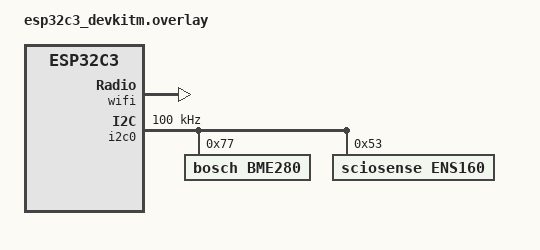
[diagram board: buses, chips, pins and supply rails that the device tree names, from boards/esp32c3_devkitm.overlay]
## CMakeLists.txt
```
cmake_minimum_required(VERSION 3.20.0)
find_package(Zephyr REQUIRED HINTS $ENV{ZEPHYR_BASE})
project(espcode)

# Collect all the source files in app/prac2/src
FILE(GLOB app_sources src/*.c)

# Collect all the source files in lib. Note that
# the path given needs to be relative to the
# CMakeLists root, which is app/prac2 here,
# hence the ../../lib.c.
FILE(GLOB lib_sources ../../lib/*.c)

# Tell CMake to build with the app and lib sources
target_sources(app PRIVATE ${app_sources} ${lib_sources}) 
target_sources(app PRIVATE
    src/main.c
    /home/brain/repo/mycode/apps/mylib/ens160.c
)
zephyr_include_directories(${CMAKE_CURRENT_SOURCE_DIR}/include)
# Tell CMake where our header files are
target_include_directories(app PRIVATE ../../include)
```

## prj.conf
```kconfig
# Enable networking stack
CONFIG_NETWORKING=y
CONFIG_PRINTK=y
CONFIG_SERIAL=y
CONFIG_UART_CONSOLE=y
CONFIG_SHELL=y
CONFIG_SHELL_LOG_LEVEL_INF=y
CONFIG_SHELL_CMD_BUFF_SIZE=128
# Enable IPv4 and DHCP
# CONFIG_NET_IPV4=y
# CONFIG_NET_DHCPV4=y
# CONFIG_NET_UDP=y
# CONFIG_NET_TCP=y
# CONFIG_HTTP_CLIENT=y  
# #CONFIG_NET_SOCKETS_POSIX_NAMES=y
# CONFIG_NET_TCP=y
# CONFIG_HTTP_CLIENT=y
# CONFIG_HTTP_PARSER=y
# CONFIG_NET_IPV4=y

# # Enable sockets and POSIX-style names
# CONFIG_NET_SOCKETS=y
# CONFIG_SHELL_STACK_SIZE=2048

  
# CONFIG_HEAP_MEM_POOL_SIZE=32768
# # Enable logging and heap (recommended)
# CONFIG_LOG=y 

# CONFIG_NET_L2_WIFI_MGMT=y

# CONFIG_NET_L2_ETHERNET=n

# # Required for ESP32 Wi-Fi
# CONFIG_WIFI=y 

# CONFIG_ETH_ESP32=y

# CONFIG_NETWORKING=y
# CONFIG_NET_L2_ETHERNET=y

# CONFIG_NET_IPV6=n
# CONFIG_NET_IPV4=y
# CONFIG_NET_DHCPV4=y

# CONFIG_NET_LOG=y
# CONFIG_NET_SHELL=y
# CONFIG_NET_CONFIG_SETTINGS=y

# CONFIG_NET_MAX_CONN=10
# CONFIG_DNS_RESOLVER=y
# CONFIG_DNS_SERVER_IP_ADDRESSES=y
# CONFIG_DNS_SERVER1="8.8.8.8"





CONFIG_I2C=y
CONFIG_SENSOR=y
CONFIG_BME280=y
CONFIG_LOG_DEFAULT_LEVEL=4   
CONFIG_ENS160=y
#CONFIG_VEML6030=y
```

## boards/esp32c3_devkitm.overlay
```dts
&wifi {
	status = "okay";
};



/*&i2c0 {
    status = "okay";
    clock-frequency = <I2C_BITRATE_STANDARD>;
    
    bme280: bme280@77 {
        compatible = "bosch,bme280";
        reg = <0x77>;
        label = "BME280";
    };

    veml6030: veml6030@10 {
        compatible = "vishay,veml6030";
        reg = <0x10>;
        label = "VEML6030";
    };
};*/



&i2c0 {
    status = "okay";
    clock-frequency = <I2C_BITRATE_STANDARD>;
    
    bme280: bme280@77 {
        compatible = "bosch,bme280";
        reg = <0x77>;
        label = "BME280";
    };

    ens160: ens160@53 {
		compatible = "sciosense,ens160";
		reg = <0x53>;
		label = "ENS160";
	};
};
 
 
/* ESP32-C3 DevKitM default I2C pins */
&i2c0_default {
    group1 {
        pinmux = <I2C0_SDA_GPIO4>, <I2C0_SCL_GPIO5>;
        bias-pull-up;
        drive-open-drain;
        output-enable;
    };
};
```

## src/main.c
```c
#include <zephyr/drivers/i2c.h>
#include <zephyr/drivers/sensor.h>
#include "bme280.h"
#include "ens160.h"
/* Custom ENS160 sensor channel for AQI */ 

void main(void)
{
    // Get BME280 device reference
    const struct device *bme280 = DEVICE_DT_GET_ANY(bosch_bme280);
    if (!device_is_ready(bme280)) {
        printk("BME280 not ready\n");
        return;
    }

    // Get ENS160 device reference
    const struct device *ens160 = check_ens160_device();
    if (!ens160 || !device_is_ready(ens160)) {
        printk("ENS160 not ready\n");
        return;
    }

    struct sensor_value temp, press, hum;
    struct sensor_value aqi, eco2, tvoc;

    while (1) {
        // --- BME280 ---
        if (sensor_sample_fetch(bme280) < 0) {
            printk("Failed to fetch BME280 data\n");
        } else {
            sensor_channel_get(bme280, SENSOR_CHAN_AMBIENT_TEMP, &temp);
            sensor_channel_get(bme280, SENSOR_CHAN_PRESS, &press);
            sensor_channel_get(bme280, SENSOR_CHAN_HUMIDITY, &hum);
        }

        // --- ENS160 ---
        if (sensor_sample_fetch(ens160) < 0) {
            printk("Failed to fetch ENS160 data\n");
        } else { 
            sensor_channel_get(ens160, SENSOR_CHAN_CO2, &eco2);
            sensor_channel_get(ens160, SENSOR_CHAN_VOC, &tvoc);
           
        }

        // Print all readings
        printk("BME280: Temp: %d.%06d C; Hum: %d.%06d %%; Press: %d.%06d kPa | ",
            temp.val1, temp.val2,
            hum.val1, hum.val2,
            press.val1, press.val2);
               
        printk("ENS160: eCO2: %d ppm; TVOC: %d ppb\n",
                eco2.val1, tvoc.val1);

        k_sleep(K_SECONDS(2));
    }
}
```
